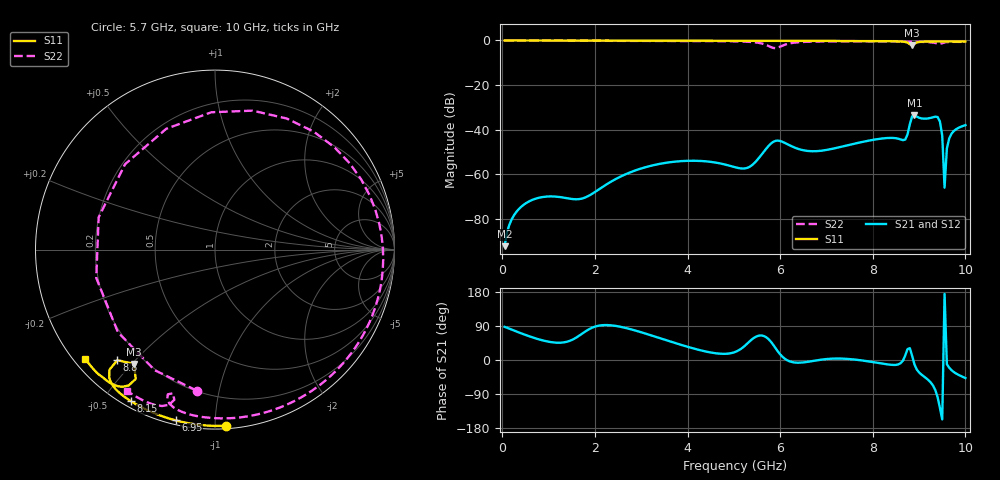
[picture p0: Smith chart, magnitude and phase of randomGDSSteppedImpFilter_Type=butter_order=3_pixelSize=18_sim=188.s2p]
! freq	dB(S11)	phase(S11)	dB(S12)	phase(S12)
!  dB(S21)	phase(S21)	dB(S22)	phase(S22)
!S-par simulation data
#  GHz  S  DB  R 50
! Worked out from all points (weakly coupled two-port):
!   200 points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, 50 MHz to 10 GHz, reference 50 ohm
!   highest |S21| = -33.56 dB at 8.9 GHz (marker M1); lowest = -92.3 dB at 50 MHz (marker M2)
!   lowest |S11| = -2.2 dB at 8.85 GHz (marker M3), VSWR 8.09, Z = 7.8 - j25.4 ohm
!   |S11| at or under -10 dB: nowhere
!   |S22| runs from -3.4 to 0.0 dB; largest |S21 - S12| = 0
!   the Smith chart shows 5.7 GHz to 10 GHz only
!   S11 on the Smith chart (normalised r, x): 5.7 GHz: 0.02, -1.07; 6.95 GHz: 0.02, -0.80; 8.15 GHz: 0.02, -0.59; 8.8 GHz: 0.12, -0.45; 10 GHz: 0.03, -0.36
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0.05  -0.00 -0.8  -92.27 87.6  -92.27 87.6  -0.00 -4.2
0.9  -0.02 -14.6  -70.14 50.9  -70.14 50.9  -0.09 -73.2
1.75  -0.04 -28.1  -70.74 71.7  -70.74 71.7  -0.15 -136.9
2.55  -0.05 -40.6  -61.10 87.7  -61.10 87.7  -0.19 167.9
3.4  -0.07 -53.5  -55.35 57.8  -55.35 57.8  -0.22 111.9
5.05  -0.12 -77.3  -56.98 22.3  -56.98 22.3  -0.40 1.7
5.7  -0.14 -86.3  -48.53 60.0  -48.53 60.0  -2.02 -97.4
5.85  -0.15 -88.3  -45.48 40.1  -45.48 40.1  -3.35 -166.6
6.05  -0.16 -91.0  -45.46 8.5  -45.46 8.5  -2.32 91.5
6.3  -0.17 -94.4  -47.94 -6.4  -47.94 -6.4  -1.00 32.6
6.7  -0.19 -99.7  -49.70 -2.7  -49.70 -2.7  -0.52 -7.1
6.95  -0.21 -103.0  -49.28 1.9  -49.28 1.9  -0.44 -22.4
8.15  -0.30 -119.0  -44.10 -8.5  -44.10 -8.5  -0.45 -70.9
8.35  -0.33 -122.0  -43.72 -12.2  -43.72 -12.2  -0.47 -77.3
8.8  -1.70 -131.5  -37.58 31.3  -37.58 31.3  -0.56 -91.0
8.85  -2.16 -125.3  -34.03 10.9  -34.03 10.9  -0.57 -92.4
8.9  -1.46 -121.5  -33.56 -11.8  -33.56 -11.8  -0.58 -93.9
9.45  -0.45 -132.3  -36.35 -126.4  -36.35 -126.4  -1.58 -106.3
9.5  -0.44 -133.0  -42.68 -156.7  -42.68 -156.7  -1.24 -105.1
9.55  -0.44 -133.8  -66.02 174.6  -66.02 174.6  -0.89 -106.5
9.65  -0.45 -135.2  -43.96 -20.3  -43.96 -20.3  -0.66 -110.7
10  -0.49 -139.9  -38.00 -47.4  -38.00 -47.4  -0.66 -121.7
